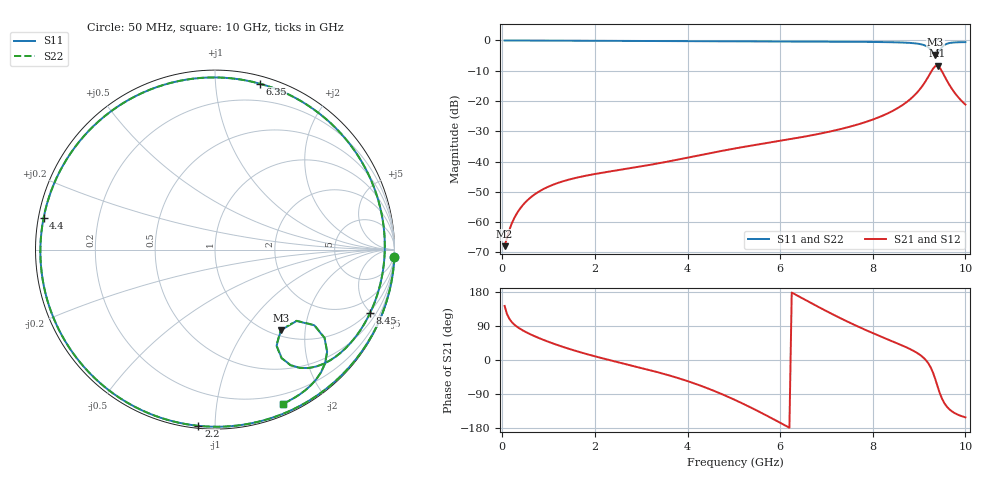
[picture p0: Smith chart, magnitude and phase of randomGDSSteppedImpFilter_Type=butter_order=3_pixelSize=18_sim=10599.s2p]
! freq	dB(S11)	phase(S11)	dB(S12)	phase(S12)
!  dB(S21)	phase(S21)	dB(S22)	phase(S22)
!S-par simulation data
#  GHz  S  DB  R 50
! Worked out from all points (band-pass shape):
!   200 points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, 50 MHz to 10 GHz, reference 50 ohm
!   highest |S21| = -8.38 dB at 9.4 GHz (marker M1); lowest = -68.0 dB at 50 MHz (marker M2)
!   |S21| within 3 dB of the highest: 9.221 GHz to 9.535 GHz (313.4 MHz wide, 3.34 % of centre)
!   lowest |S11| = -4.7 dB at 9.35 GHz (marker M3), VSWR 3.76, Z = 55.2 - j74.6 ohm
!   |S11| at or under -10 dB: nowhere
!   |S22| runs from -4.8 to 0.0 dB; largest |S21 - S12| = 0
!   S11 on the Smith chart (normalised r, x): 50 MHz: 0, -51; 2.2 GHz: 0.01, -0.91; 4.4 GHz: 0.01, +0.09; 6.35 GHz: 0.06, +1.30; 8.45 GHz: 0.90, -4.93; 10 GHz: 0.11, -1.53
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0.05  -0.00 -2.2  -67.97 142.7  -67.97 142.7  -0.00 -2.2
0.25  -0.01 -11.1  -58.95 94.5  -58.95 94.5  -0.01 -11.1
0.55  -0.02 -24.4  -52.70 71.2  -52.70 71.2  -0.02 -24.4
1.2  -0.07 -52.7  -47.08 39.1  -47.08 39.1  -0.07 -52.7
1.75  -0.10 -76.3  -44.86 18.1  -44.86 18.1  -0.10 -76.3
2.2  -0.12 -95.4  -43.60 3.3  -43.60 3.3  -0.12 -95.4
2.8  -0.15 -120.7  -42.11 -14.9  -42.11 -14.9  -0.15 -120.7
3.4  -0.19 -146.2  -40.52 -33.7  -40.52 -33.7  -0.19 -146.2
4.4  -0.25 169.7  -37.50 -73.2  -37.50 -73.2  -0.25 169.7
5.05  -0.30 139.3  -35.61 -106.8  -35.61 -106.8  -0.30 139.3
5.75  -0.34 105.0  -33.79 -149.3  -33.79 -149.3  -0.34 105.0
6.35  -0.38 74.9  -32.26 171.3  -32.26 171.3  -0.38 74.9
6.7  -0.39 57.5  -31.28 148.2  -31.28 148.2  -0.39 57.5
7.5  -0.44 19.3  -28.52 98.6  -28.52 98.6  -0.44 19.3
8.35  -0.57 -18.0  -23.89 53.0  -23.89 53.0  -0.57 -18.0
8.45  -0.60 -22.2  -23.11 48.0  -23.11 48.0  -0.60 -22.2
9.1  -1.51 -51.7  -14.41 5.5  -14.41 5.5  -1.51 -51.7
9.25  -2.98 -58.4  -10.61 -19.3  -10.61 -19.3  -2.99 -58.5
9.35  -4.73 -50.7  -8.49 -50.4  -8.49 -50.4  -4.75 -50.7
9.4  -4.38 -41.2  -8.38 -69.9  -8.38 -69.9  -4.40 -41.1
9.55  -1.47 -42.3  -11.82 -114.7  -11.82 -114.7  -1.47 -42.3
10  -0.55 -66.0  -21.19 -151.3  -21.19 -151.3  -0.55 -66.0
